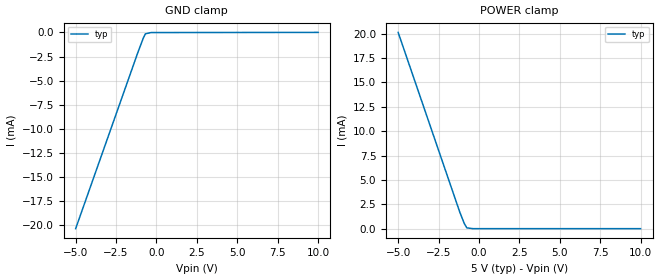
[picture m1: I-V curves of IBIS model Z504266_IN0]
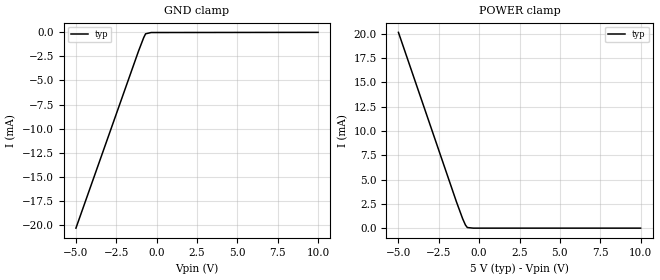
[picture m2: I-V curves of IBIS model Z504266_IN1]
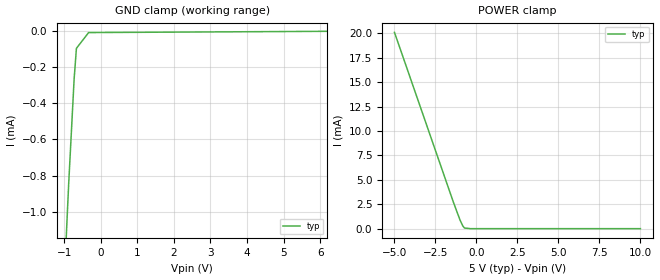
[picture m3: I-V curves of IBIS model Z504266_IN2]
| YOU ARE ONLY AUTHORIZED TO USE THIS SOFTWARE
| ACCORDING TO LICENSOR'S LICENSE RESTRICTIONS.
[IBIS Ver] 3.1
[File Name] mc74hc589n.ibs
[File Rev] 2.0
[Source] Measured and created by ICX Technology
[Date] Friday 7/14/00 9:08:10 AM
[Copyright]
| (C) COPYRIGHT 1993-2000
| MENTOR GRAPHICS CORPORATION
| ICX STANDARD LIBRARY, ICX PROJECT MODELING,
| ICX CUSTOM MODELING, ICX VENDOR MODEL
| ALL RIGHTS RESERVED.
| THE FOLLOWING ARE TRADEMARKS OR SERVICE MARKS OF
| MENTOR GRAPHICS CORPORATION:ICX (R), ICX STANDARD
| LIBRARY(R), ICX PROJECT MODELING(R), ICX CUSTOM
| MODELING(R), qualityIBIS(TM), MODELVIEWER(TM),
| AND MODELEDITOR(TM)
| ALL COPIES OF SOFTWARE, INCLUDING BUT NOT LIMITED TO
| ANY MODIFICATIONS, ENHANCEMENTS OR DERIVATIVE WORKS,
| MUST CONTAIN ALL MENTOR GRAPHICS CORPORATION'S
| NOTICES AND LEGENDS, INCLUDING THOSE EMBEDDED IN
| SOFTWARE AND THOSE AFFIXED TO SOFTWARE MEDIUM
| AND CONTAINER, AS RECEIVED FROM MENTOR GRAPHICS
| CORPORATION.
|  ZAP Model Builder 2.7
[Component] MC74HC589N
[Manufacturer] OnSemiconductor
[Package]
| variable   typ   min   max
R_pkg  .212ohms NA NA
L_pkg  4.758nH NA NA
C_pkg  1.143pF NA NA
[Pin] signal_name  model_name  R_pin  L_pin C_pin
1 B Z504266_IN0 .224 7.258n 1.578p
2 C Z504266_IN0 .216 5.258n 1.288p
3 D Z504266_IN0 .208 3.758n .998p
4 E Z504266_IN0 .2 2.758n .708p
5 G Z504266_IN0 .2 2.758n .708p
6 G Z504266_IN0 .208 3.758n .998p
7 H Z504266_IN0 .216 5.258n 1.288p
8 GND GND .224 7.258n 1.578p
9 QH Z504266_TRI0 .224 7.258n 1.578p
10 OE Z504266_IN1 .216 5.258n 1.288p
11 SHIFT_CLOCK Z504266_IN2 .208 3.758n .998p
12 LATCH_CLOCK Z504266_IN3 .2 2.758n .708p
13 SERIAL_SHIFT Z504266_IN4 .2 2.758n .708p
14 SA Z504266_IN5 .208 3.758n .998p
15 A Z504266_IN0 .216 5.258n 1.288p
16 VCC POWER .224 7.258n 1.578p
| Models and submodels in the file (7): Z504266_IN0 (Input), Z504266_IN1 (Input), Z504266_IN2 (Input), Z504266_IN3 (Input), Z504266_IN4 (Input), Z504266_IN5 (Input), Z504266_TRI0 (3-state)
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| (C) COPYRIGHT 1993-2000
| MENTOR GRAPHICS CORPORATION
| ICX STANDARD LIBRARY, ICX PROJECT MODELING,
| ICX CUSTOM MODELING, ICX VENDOR MODEL
| ALL RIGHTS RESERVED.
| THE FOLLOWING ARE TRADEMARKS OR SERVICE MARKS OF
| MENTOR GRAPHICS CORPORATION:ICX (R), ICX STANDARD
| LIBRARY(R), ICX PROJECT MODELING(R), ICX CUSTOM
| MODELING(R), qualityIBIS(TM), MODELVIEWER(TM),
| AND MODELEDITOR(TM)
| ALL COPIES OF SOFTWARE, INCLUDING BUT NOT LIMITED TO
| ANY MODIFICATIONS, ENHANCEMENTS OR DERIVATIVE WORKS,
| MUST CONTAIN ALL MENTOR GRAPHICS CORPORATION'S
| NOTICES AND LEGENDS, INCLUDING THOSE EMBEDDED IN
| SOFTWARE AND THOSE AFFIXED TO SOFTWARE MEDIUM
| AND CONTAINER, AS RECEIVED FROM MENTOR GRAPHICS
| CORPORATION.
| Model Application Version 1.89 2/18/99.
[Model] Z504266_IN0
Model_type Input
Vinl = 1.000V
Vinh = 3.500V
C_comp 4.000pF NA NA
| variable typ   min   max
[Voltage Range] 5.000V NA NA
[GND Clamp Reference] 0.000V NA NA
[POWER Clamp Reference] 5.000V NA NA
[GND Clamp]
-5V       -20.35mA   NA         NA
-1.131V   -1.986mA   NA         NA
-803.6mV  -545.2uA   NA         NA
-685.3mV  -143.7uA   NA         NA
-342.6mV  -11.11uA   NA         NA
10V       5.786uA    NA         NA
[POWER Clamp]
-5V       20.13mA    NA         NA
-1.196V   1.741mA    NA         NA
-906mV    516.6uA    NA         NA
-750mV    81.69uA    NA         NA
-375mV    0A         NA         NA
10V       0A         NA         NA
| (C) COPYRIGHT 1993-2000
| MENTOR GRAPHICS CORPORATION
| ICX STANDARD LIBRARY, ICX PROJECT MODELING,
| ICX CUSTOM MODELING, ICX VENDOR MODEL
| ALL RIGHTS RESERVED.
| THE FOLLOWING ARE TRADEMARKS OR SERVICE MARKS OF
| MENTOR GRAPHICS CORPORATION:ICX (R), ICX STANDARD
| LIBRARY(R), ICX PROJECT MODELING(R), ICX CUSTOM
| MODELING(R), qualityIBIS(TM), MODELVIEWER(TM),
| AND MODELEDITOR(TM)
| ALL COPIES OF SOFTWARE, INCLUDING BUT NOT LIMITED TO
| ANY MODIFICATIONS, ENHANCEMENTS OR DERIVATIVE WORKS,
| MUST CONTAIN ALL MENTOR GRAPHICS CORPORATION'S
| NOTICES AND LEGENDS, INCLUDING THOSE EMBEDDED IN
| SOFTWARE AND THOSE AFFIXED TO SOFTWARE MEDIUM
| AND CONTAINER, AS RECEIVED FROM MENTOR GRAPHICS
| CORPORATION.
| Model Application Version 1.89 2/18/99.
[Model] Z504266_IN1
Model_type Input
Vinl = 1.000V
Vinh = 3.500V
C_comp 4.000pF NA NA
| variable typ   min   max
[Voltage Range] 5.000V NA NA
[GND Clamp Reference] 0.000V NA NA
[POWER Clamp Reference] 5.000V NA NA
[GND Clamp]
-5V       -20.36mA   NA         NA
-1.131V   -1.979mA   NA         NA
-803.5mV  -545.3uA   NA         NA
-685.1mV  -143.2uA   NA         NA
-342.6mV  -9.373uA   NA         NA
10V       6.593uA    NA         NA
[POWER Clamp]
-5V       20.16mA    NA         NA
-1.406V   2.708mA    NA         NA
-1.024V   977.5uA    NA         NA
-850mV    323.6uA    NA         NA
-731mV    61.09uA    NA         NA
-365.5mV  0A         NA         NA
10V       0A         NA         NA
| (C) COPYRIGHT 1993-2000
| MENTOR GRAPHICS CORPORATION
| ICX STANDARD LIBRARY, ICX PROJECT MODELING,
| ICX CUSTOM MODELING, ICX VENDOR MODEL
| ALL RIGHTS RESERVED.
| THE FOLLOWING ARE TRADEMARKS OR SERVICE MARKS OF
| MENTOR GRAPHICS CORPORATION:ICX (R), ICX STANDARD
| LIBRARY(R), ICX PROJECT MODELING(R), ICX CUSTOM
| MODELING(R), qualityIBIS(TM), MODELVIEWER(TM),
| AND MODELEDITOR(TM)
| ALL COPIES OF SOFTWARE, INCLUDING BUT NOT LIMITED TO
| ANY MODIFICATIONS, ENHANCEMENTS OR DERIVATIVE WORKS,
| MUST CONTAIN ALL MENTOR GRAPHICS CORPORATION'S
| NOTICES AND LEGENDS, INCLUDING THOSE EMBEDDED IN
| SOFTWARE AND THOSE AFFIXED TO SOFTWARE MEDIUM
| AND CONTAINER, AS RECEIVED FROM MENTOR GRAPHICS
| CORPORATION.
| Model Application Version 1.89 2/18/99.
[Model] Z504266_IN2
Model_type Input
Vinl = 1.000V
Vinh = 3.500V
C_comp 4.000pF NA NA
| variable typ   min   max
[Voltage Range] 5.000V NA NA
[GND Clamp Reference] 0.000V NA NA
[POWER Clamp Reference] 5.000V NA NA
[GND Clamp]
-5V       -20.35mA   NA         NA
-1.131V   -1.966mA   NA         NA
-878.5mV  -849.2uA   NA         NA
-728.4mV  -264.8uA   NA         NA
-665.9mV  -96.21uA   NA         NA
-332.9mV  -9.098uA   NA         NA
10V       2.024uA    NA         NA
[POWER Clamp]
-5V       20.09mA    NA         NA
-1.406V   2.707mA    NA         NA
-1.005V   897.1uA    NA         NA
-830mV    266.6uA    NA         NA
-730mV    65.28uA    NA         NA
-365mV    0A         NA         NA
10V       0A         NA         NA
